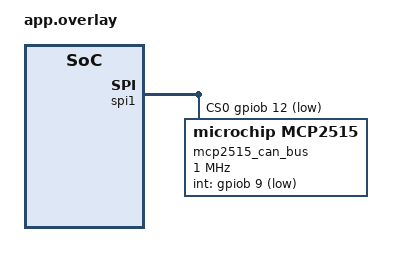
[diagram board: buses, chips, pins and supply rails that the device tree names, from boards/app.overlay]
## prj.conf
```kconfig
CONFIG_CANARD=y
CONFIG_LOG=y

CONFIG_CAN=y
CONFIG_CAN_INIT_PRIORITY=80
CONFIG_CAN_MAX_FILTER=5
```

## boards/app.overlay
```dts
/{
	chosen {
		zephyr,canbus = &mcp2515_can_bus;
	};
};

&spi1 {
	status = "okay";
	cs-gpios = <&gpiob 12 GPIO_ACTIVE_LOW>;	
	mcp2515_can_bus: can@0 {
		compatible = "microchip,mcp2515";
		spi-max-frequency = <1000000>;
		int-gpios = <&gpiob 9 GPIO_ACTIVE_LOW>; /* B9 */
		status = "okay";
		reg = <0x0>;
		osc-freq = <8000000>;
		bus-speed = <125000>;
		sjw = <1>;
		sample-point = <875>;

		can-transceiver {
			max-bitrate = <1000000>;
		};
	};
};
```

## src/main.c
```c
/*
 * Source file for reading can over can-bus and logging
 */


#include <zephyr/device.h>
#include <zephyr/devicetree.h>
#include <zephyr/drivers/gpio.h>
#include <zephyr/drivers/can.h>
#include <zephyr/kernel.h>
#include <zephyr/sys/printk.h>
#include <zephyr/sys/util.h>
#include <zephyr/logging/log.h>

LOG_MODULE_REGISTER(can_read_test , CONFIG_LOG_DEFAULT_LEVEL);
CAN_MSGQ_DEFINE(rx_msgq, 10);

/* DT spec for led*/
static const struct gpio_dt_spec led = GPIO_DT_SPEC_GET(DT_ALIAS(led0), gpios);


/* DT spec for can module*/
const struct device *const can_dev = DEVICE_DT_GET(DT_CHOSEN(zephyr_canbus));

/*
 * Can filter to read all frames with extended IDs
 */ 
const struct can_filter ex_filter = {
	.flags = CAN_FILTER_DATA | CAN_FILTER_IDE,
};

struct can_frame rx_frame;

int main()
{
	printk("\ntests/read_can: v1.0.0\n\n");
	int filter_id;
	
	if (!device_is_ready(can_dev)) {
		LOG_INF("CAN: Device %s not ready.\n", can_dev->name);
		return 0;
	}
	
	if (can_start(can_dev)) {
		LOG_ERR("Error starting CAN controller.\n");
		return 0;
	}

	filter_id = can_add_rx_filter_msgq(can_dev, &rx_msgq, &ex_filter);
	if (filter_id < 0)
	{
		LOG_ERR("Unable to add rx msgq [%d]", filter_id);
		return 0;
	}

	if (!gpio_is_ready_dt(&led))
	{
		LOG_ERR("Error: Led not ready\n");
		return 0;
	}

	if (gpio_pin_configure_dt(&led, GPIO_OUTPUT_ACTIVE) < 0)
	{
		LOG_ERR("Error: Led not configured\n");
		return 0;
	}
	
	LOG_INF("Initialization completed successfully\n");

	while (true)
	{
		k_msgq_get(&rx_msgq, &rx_frame, K_FOREVER);
		gpio_pin_toggle_dt(&led);
		printk("Frame recieved\n");
		printk("Frame ID: %x\n", rx_frame.id);
		printk("Frame Data: %d %d %d\n\n", rx_frame.data_32[0], rx_frame.data[4], rx_frame.data[5]);
	}
	return 0;
}
```
